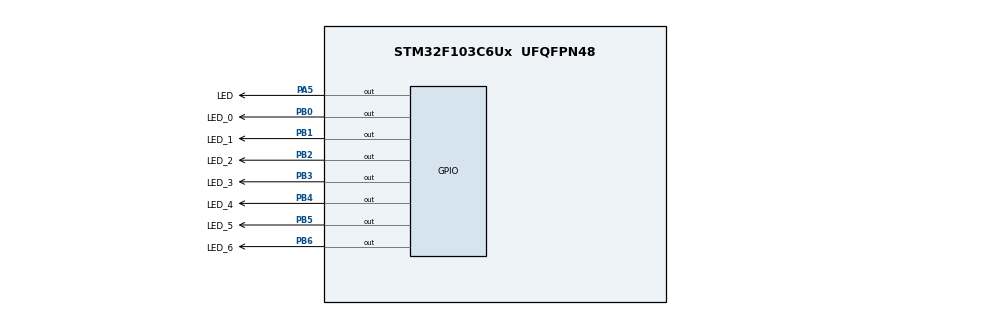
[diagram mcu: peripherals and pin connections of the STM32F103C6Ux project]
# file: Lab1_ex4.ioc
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Mcu.Family=STM32F1
Mcu.Name=STM32F103C6Ux
Mcu.Package=UFQFPN48
NVIC.PriorityGroup=NVIC_PRIORITYGROUP_4
PA5.GPIO_Label=LED
PA5.Signal=GPIO_Output
PB0.GPIO_Label=LED_0
PB0.Signal=GPIO_Output
PB1.GPIO_Label=LED_1
PB1.Signal=GPIO_Output
PB2.GPIO_Label=LED_2
PB2.Signal=GPIO_Output
PB3.GPIO_Label=LED_3
PB3.Signal=GPIO_Output
PB4.GPIO_Label=LED_4
PB4.Signal=GPIO_Output
PB5.GPIO_Label=LED_5
PB5.Signal=GPIO_Output
PB6.GPIO_Label=LED_6
PB6.Signal=GPIO_Output
ProjectManager.HeapSize=0x200
ProjectManager.StackSize=0x400
ProjectManager.TargetToolchain=STM32CubeIDE
RCC.APB1Freq_Value=8000000
RCC.APB2Freq_Value=8000000
VP_SYS_VS_ND.Mode=No_Debug
board=custom

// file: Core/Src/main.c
/* USER CODE BEGIN Header */
/**
  ******************************************************************************
  * @file           : main.c
  * @brief          : Main program body
  ******************************************************************************
  * @attention
  *
  * <h2><center>&copy; Copyright (c) 2024 STMicroelectronics.
  * All rights reserved.</center></h2>
  *
  * This software component is licensed by ST under BSD 3-Clause license,
  * the "License"; You may not use this file except in compliance with the
  * License. You may obtain a copy of the License at:
  *                        opensource.org/licenses/BSD-3-Clause
  *
  ******************************************************************************
  */
/* USER CODE END Header */
#include "main.h"

void SystemClock_Config(void);
static void MX_GPIO_Init(void);

int main(void)
{

  /* MCU Configuration--------------------------------------------------------*/

  /* Reset of all peripherals, Initializes the Flash interface and the Systick. */
  HAL_Init();

  /* Configure the system clock */
  SystemClock_Config();

  /* Initialize all configured peripherals */
  MX_GPIO_Init();

  /* Infinite loop */
  /* USER CODE BEGIN WHILE */
  void display7SEG(int num){
	  switch(num){
	  case 0 :
		  	  HAL_GPIO_WritePin ( LED_0_GPIO_Port , LED_0_Pin , GPIO_PIN_RESET ) ;
		  	  HAL_GPIO_WritePin ( LED_1_GPIO_Port , LED_1_Pin , GPIO_PIN_RESET ) ;
		  	  HAL_GPIO_WritePin ( LED_2_GPIO_Port , LED_2_Pin , GPIO_PIN_RESET ) ;
		  	  HAL_GPIO_WritePin ( LED_3_GPIO_Port , LED_3_Pin , GPIO_PIN_RESET ) ;
		  	  HAL_GPIO_WritePin ( LED_4_GPIO_Port , LED_4_Pin , GPIO_PIN_RESET ) ;
		  	  HAL_GPIO_WritePin ( LED_5_GPIO_Port , LED_5_Pin , GPIO_PIN_RESET ) ;
			  HAL_GPIO_WritePin ( LED_6_GPIO_Port , LED_6_Pin , GPIO_PIN_SET ) ;
		  	  break;
	  case 1 :
		  	  HAL_GPIO_WritePin ( LED_0_GPIO_Port , LED_0_Pin , GPIO_PIN_SET ) ;
		  	  HAL_GPIO_WritePin ( LED_1_GPIO_Port , LED_1_Pin , GPIO_PIN_RESET ) ;
		  	  HAL_GPIO_WritePin ( LED_2_GPIO_Port , LED_2_Pin , GPIO_PIN_RESET ) ;
		  	  HAL_GPIO_WritePin ( LED_3_GPIO_Port , LED_3_Pin , GPIO_PIN_SET ) ;
		  	  HAL_GPIO_WritePin ( LED_4_GPIO_Port , LED_4_Pin , GPIO_PIN_SET ) ;
		  	  HAL_GPIO_WritePin ( LED_5_GPIO_Port , LED_5_Pin , GPIO_PIN_SET ) ;
			  HAL_GPIO_WritePin ( LED_6_GPIO_Port , LED_6_Pin , GPIO_PIN_SET ) ;
			  break;
	  case 2 :
		  HAL_GPIO_WritePin ( LED_0_GPIO_Port , LED_0_Pin , GPIO_PIN_RESET ) ;
		 		  	  HAL_GPIO_WritePin ( LED_1_GPIO_Port , LED_1_Pin , GPIO_PIN_RESET ) ;
		 		  	  HAL_GPIO_WritePin ( LED_2_GPIO_Port , LED_2_Pin , GPIO_PIN_SET ) ;
		 		  	  HAL_GPIO_WritePin ( LED_3_GPIO_Port , LED_3_Pin , GPIO_PIN_RESET ) ;
		 		  	  HAL_GPIO_WritePin ( LED_4_GPIO_Port , LED_4_Pin , GPIO_PIN_RESET ) ;
		 		  	  HAL_GPIO_WritePin ( LED_5_GPIO_Port , LED_5_Pin , GPIO_PIN_SET ) ;
		 			  HAL_GPIO_WritePin ( LED_6_GPIO_Port , LED_6_Pin , GPIO_PIN_RESET ) ;
		 			  break;
	  case 3 :
		  HAL_GPIO_WritePin ( LED_0_GPIO_Port , LED_0_Pin , GPIO_PIN_RESET ) ;
		 		  	  HAL_GPIO_WritePin ( LED_1_GPIO_Port , LED_1_Pin , GPIO_PIN_RESET ) ;
		 		  	  HAL_GPIO_WritePin ( LED_2_GPIO_Port , LED_2_Pin , GPIO_PIN_RESET ) ;
		 		  	  HAL_GPIO_WritePin ( LED_3_GPIO_Port , LED_3_Pin , GPIO_PIN_RESET ) ;
		 		  	  HAL_GPIO_WritePin ( LED_4_GPIO_Port , LED_4_Pin , GPIO_PIN_SET ) ;
		 		  	  HAL_GPIO_WritePin ( LED_5_GPIO_Port , LED_5_Pin , GPIO_PIN_SET ) ;
		 			  HAL_GPIO_WritePin ( LED_6_GPIO_Port , LED_6_Pin , GPIO_PIN_RESET ) ;
		 			  break;
	  case 4 :
		  HAL_GPIO_WritePin ( LED_0_GPIO_Port , LED_0_Pin , GPIO_PIN_SET ) ;
		 		  	  HAL_GPIO_WritePin ( LED_1_GPIO_Port , LED_1_Pin , GPIO_PIN_RESET ) ;
		 		  	  HAL_GPIO_WritePin ( LED_2_GPIO_Port , LED_2_Pin , GPIO_PIN_RESET ) ;
		 		  	  HAL_GPIO_WritePin ( LED_3_GPIO_Port , LED_3_Pin , GPIO_PIN_SET ) ;
		 		  	  HAL_GPIO_WritePin ( LED_4_GPIO_Port , LED_4_Pin , GPIO_PIN_SET ) ;
		 		  	  HAL_GPIO_WritePin ( LED_5_GPIO_Port , LED_5_Pin , GPIO_PIN_RESET ) ;
		 			  HAL_GPIO_WritePin ( LED_6_GPIO_Port , LED_6_Pin , GPIO_PIN_RESET ) ;
		 			  break;
	  case 5 :
		  HAL_GPIO_WritePin ( LED_0_GPIO_Port , LED_0_Pin , GPIO_PIN_RESET ) ;
		 		  	  HAL_GPIO_WritePin ( LED_1_GPIO_Port , LED_1_Pin , GPIO_PIN_SET ) ;
		 		  	  HAL_GPIO_WritePin ( LED_2_GPIO_Port , LED_2_Pin , GPIO_PIN_RESET ) ;
		 		  	  HAL_GPIO_WritePin ( LED_3_GPIO_Port , LED_3_Pin , GPIO_PIN_RESET ) ;
		 		  	  HAL_GPIO_WritePin ( LED_4_GPIO_Port , LED_4_Pin , GPIO_PIN_SET ) ;
		 		  	  HAL_GPIO_WritePin ( LED_5_GPIO_Port , LED_5_Pin , GPIO_PIN_RESET ) ;
		 			  HAL_GPIO_WritePin ( LED_6_GPIO_Port , LED_6_Pin , GPIO_PIN_RESET ) ;
		 			  break;
	  case 6 :
		  HAL_GPIO_WritePin ( LED_0_GPIO_Port , LED_0_Pin , GPIO_PIN_RESET ) ;
		 		  	  HAL_GPIO_WritePin ( LED_1_GPIO_Port , LED_1_Pin , GPIO_PIN_SET ) ;
		 		  	  HAL_GPIO_WritePin ( LED_2_GPIO_Port , LED_2_Pin , GPIO_PIN_RESET ) ;
		 		  	  HAL_GPIO_WritePin ( LED_3_GPIO_Port , LED_3_Pin , GPIO_PIN_RESET ) ;
		 		  	  HAL_GPIO_WritePin ( LED_4_GPIO_Port , LED_4_Pin , GPIO_PIN_RESET ) ;
		 		  	  HAL_GPIO_WritePin ( LED_5_GPIO_Port , LED_5_Pin , GPIO_PIN_RESET ) ;
		 			  HAL_GPIO_WritePin ( LED_6_GPIO_Port , LED_6_Pin , GPIO_PIN_RESET ) ;
		 		break;
	  case 7 :
		  HAL_GPIO_WritePin ( LED_0_GPIO_Port , LED_0_Pin , GPIO_PIN_RESET ) ;
		 		  	  HAL_GPIO_WritePin ( LED_1_GPIO_Port , LED_1_Pin , GPIO_PIN_RESET ) ;
		 		  	  HAL_GPIO_WritePin ( LED_2_GPIO_Port , LED_2_Pin , GPIO_PIN_RESET ) ;
		 		  	  HAL_GPIO_WritePin ( LED_3_GPIO_Port , LED_3_Pin , GPIO_PIN_SET ) ;
		 		  	  HAL_GPIO_WritePin ( LED_4_GPIO_Port , LED_4_Pin , GPIO_PIN_SET ) ;
		 		  	  HAL_GPIO_WritePin ( LED_5_GPIO_Port , LED_5_Pin , GPIO_PIN_SET ) ;
		 			  HAL_GPIO_WritePin ( LED_6_GPIO_Port , LED_6_Pin , GPIO_PIN_SET ) ;
		 			  break;

	  case 8 :
		  HAL_GPIO_WritePin ( LED_0_GPIO_Port , LED_0_Pin , GPIO_PIN_RESET ) ;
		 		  	  HAL_GPIO_WritePin ( LED_1_GPIO_Port , LED_1_Pin , GPIO_PIN_RESET ) ;
		 		  	  HAL_GPIO_WritePin ( LED_2_GPIO_Port , LED_2_Pin , GPIO_PIN_RESET ) ;
		 		  	  HAL_GPIO_WritePin ( LED_3_GPIO_Port , LED_3_Pin , GPIO_PIN_RESET ) ;
		 		  	  HAL_GPIO_WritePin ( LED_4_GPIO_Port , LED_4_Pin , GPIO_PIN_RESET ) ;
		 		  	  HAL_GPIO_WritePin ( LED_5_GPIO_Port , LED_5_Pin , GPIO_PIN_RESET ) ;
		 			  HAL_GPIO_WritePin ( LED_6_GPIO_Port , LED_6_Pin , GPIO_PIN_RESET ) ;
		 	break;

	  case 9 :
		  HAL_GPIO_WritePin ( LED_0_GPIO_Port , LED_0_Pin , GPIO_PIN_RESET ) ;
		 		  	  HAL_GPIO_WritePin ( LED_1_GPIO_Port , LED_1_Pin , GPIO_PIN_RESET ) ;
		 		  	  HAL_GPIO_WritePin ( LED_2_GPIO_Port , LED_2_Pin , GPIO_PIN_RESET ) ;
		 		  	  HAL_GPIO_WritePin ( LED_3_GPIO_Port , LED_3_Pin , GPIO_PIN_RESET ) ;
		 		  	  HAL_GPIO_WritePin ( LED_4_GPIO_Port , LED_4_Pin , GPIO_PIN_SET ) ;
		 		  	  HAL_GPIO_WritePin ( LED_5_GPIO_Port , LED_5_Pin , GPIO_PIN_RESET ) ;
		 			  HAL_GPIO_WritePin ( LED_6_GPIO_Port , LED_6_Pin , GPIO_PIN_RESET ) ;
		 			  break;
	  default :
		  break;
  }
}
	int counter = 0;
  while (1)
  {
    /* USER CODE END WHILE */
	  if( counter >= 10) counter = 0;
	  display7SEG ( counter ++) ;
	  HAL_Delay(1000);
  }
}

void SystemClock_Config(void)
{
  RCC_OscInitTypeDef RCC_OscInitStruct = {0};
  RCC_ClkInitTypeDef RCC_ClkInitStruct = {0};

  /** Initializes the RCC Oscillators according to the specified parameters
  * in the RCC_OscInitTypeDef structure.
  */
  RCC_OscInitStruct.OscillatorType = RCC_OSCILLATORTYPE_HSI;
  RCC_OscInitStruct.HSIState = RCC_HSI_ON;
  RCC_OscInitStruct.HSICalibrationValue = RCC_HSICALIBRATION_DEFAULT;
  RCC_OscInitStruct.PLL.PLLState = RCC_PLL_NONE;
  if (HAL_RCC_OscConfig(&RCC_OscInitStruct) != HAL_OK)
  {
    Error_Handler();
  }
  /** Initializes the CPU, AHB and APB buses clocks
  */
  RCC_ClkInitStruct.ClockType = RCC_CLOCKTYPE_HCLK|RCC_CLOCKTYPE_SYSCLK
                              |RCC_CLOCKTYPE_PCLK1|RCC_CLOCKTYPE_PCLK2;
  RCC_ClkInitStruct.SYSCLKSource = RCC_SYSCLKSOURCE_HSI;
  RCC_ClkInitStruct.AHBCLKDivider = RCC_SYSCLK_DIV1;
  RCC_ClkInitStruct.APB1CLKDivider = RCC_HCLK_DIV1;
  RCC_ClkInitStruct.APB2CLKDivider = RCC_HCLK_DIV1;

  if (HAL_RCC_ClockConfig(&RCC_ClkInitStruct, FLASH_LATENCY_0) != HAL_OK)
  {
    Error_Handler();
  }
}

static void MX_GPIO_Init(void)
{
  GPIO_InitTypeDef GPIO_InitStruct = {0};

  /* GPIO Ports Clock Enable */
  __HAL_RCC_GPIOA_CLK_ENABLE();
  __HAL_RCC_GPIOB_CLK_ENABLE();

  /*Configure GPIO pin Output Level */
  HAL_GPIO_WritePin(LED_GPIO_Port, LED_Pin, GPIO_PIN_RESET);

  /*Configure GPIO pin Output Level */
  HAL_GPIO_WritePin(GPIOB, LED_0_Pin|LED_1_Pin|LED_2_Pin|LED_3_Pin
                          |LED_4_Pin|LED_5_Pin|LED_6_Pin, GPIO_PIN_RESET);

  /*Configure GPIO pin : LED_Pin */
  GPIO_InitStruct.Pin = LED_Pin;
  GPIO_InitStruct.Mode = GPIO_MODE_OUTPUT_PP;
  GPIO_InitStruct.Pull = GPIO_NOPULL;
  GPIO_InitStruct.Speed = GPIO_SPEED_FREQ_LOW;
  HAL_GPIO_Init(LED_GPIO_Port, &GPIO_InitStruct);

  /*Configure GPIO pins : LED_0_Pin LED_1_Pin LED_2_Pin LED_3_Pin
                           LED_4_Pin LED_5_Pin LED_6_Pin */
  GPIO_InitStruct.Pin = LED_0_Pin|LED_1_Pin|LED_2_Pin|LED_3_Pin
                          |LED_4_Pin|LED_5_Pin|LED_6_Pin;
  GPIO_InitStruct.Mode = GPIO_MODE_OUTPUT_PP;
  GPIO_InitStruct.Pull = GPIO_NOPULL;
  GPIO_InitStruct.Speed = GPIO_SPEED_FREQ_LOW;
  HAL_GPIO_Init(GPIOB, &GPIO_InitStruct);

}

void Error_Handler(void)
{
  __disable_irq();
  while (1)
  {
  }
}

/************************ (C) COPYRIGHT STMicroelectronics *****END OF FILE****/
